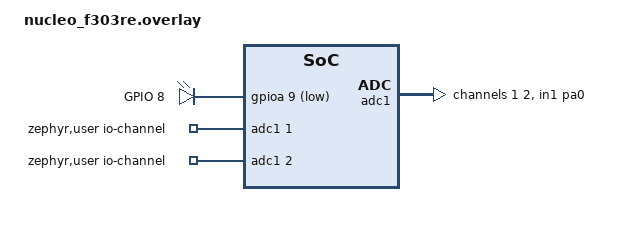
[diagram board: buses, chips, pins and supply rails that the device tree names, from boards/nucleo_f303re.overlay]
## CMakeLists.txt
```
cmake_minimum_required(VERSION 3.20.0)
find_package(Zephyr REQUIRED HINTS $ENV{ZEPHYR_BASE})

project(app LANGUAGES C)

# We need to be able to include generated header files
zephyr_library_include_directories(${CMAKE_CURRENT_BINARY_DIR})

target_sources(app PRIVATE src/main.c)
```

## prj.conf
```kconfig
# Configure Peripherals
CONFIG_GPIO=y
CONFIG_SENSOR=y
# CONFIG_DAC=y
CONFIG_ADC=y
CONFIG_PWM=y
CONFIG_PRINTK=y
# CONFIG_STDOUT_CONSOLE=y

# Configure Miltithreading
CONFIG_TIMESLICING=y
CONFIG_TIMESLICE_SIZE=10
CONFIG_TIMESLICE_PRIORITY=0
```

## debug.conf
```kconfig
# Copyright (c) 2021 Nordic Semiconductor ASA
# SPDX-License-Identifier: Apache-2.0
#
# This is a Kconfig fragment which can be used to enable debug-related options
# in the application. See the README for more details.

# compiler
CONFIG_DEBUG_OPTIMIZATIONS=y

# console
CONFIG_CONSOLE=y

# UART console
CONFIG_SERIAL=y
CONFIG_UART_CONSOLE=y

# logging
CONFIG_LOG=y
CONFIG_APP_LOG_LEVEL_DBG=y
```

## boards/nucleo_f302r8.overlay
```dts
/*
 * Copyright (c) 2021 Nordic Semiconductor ASA
 * SPDX-License-Identifier: Apache-2.0
 */

/* This devicetree overlay file will be automatically picked by the Zephyr
 * build system when building the sample for the nucleo_f302r8 board. It shows
 * how the example-application can be built on sample boards already provided
 * by Zephyr.
 */

/ {
	examplesensor0: examplesensor_0 {
		compatible = "zephyr,examplesensor";
		input-gpios = <&gpioc 13 (GPIO_PULL_UP | GPIO_ACTIVE_LOW)>;
	};
};

&gpioc {
	status = "okay";
};
```

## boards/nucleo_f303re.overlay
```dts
/ {
	// Define GPIO's
	leds {
		compatible = "gpio-leds";
		gpio_8: gpio8 {
			gpios = <&gpioa 9 GPIO_ACTIVE_LOW>;
			label = "GPIO 8";
		};
	};

	zephyr,user {
		io-channels = <&adc1 1>, <&adc1 2>;

	};

	aliases {
		d8 = &gpio_8;
	};
};

&adc1 {
	#address-cells = <1>;
	#size-cells = <0>;
	pinctrl-0 = <&adc1_in1_pa0>;
	pinctrl-names = "default";
	status = "okay";

	channel@1 {
		reg = <1>;
		zephyr,gain = "ADC_GAIN_6";
		zephyr,reference = "ADC_REF_VDD_1";
		zephyr,acquisition-time = <ADC_ACQ_TIME_DEFAULT>;
		zephyr,resolution = <12>;
		pinctrl-0 = <&adc1_in1_pa0>;
	};
	channel@2 {
		reg = <2>;
		zephyr,gain = "ADC_GAIN_6";
		zephyr,reference = "ADC_REF_VDD_1";
		zephyr,acquisition-time = <ADC_ACQ_TIME_DEFAULT>;
		zephyr,resolution = <12>;
		pinctrl-0 = <&adc1_in2_pa1>;
	};
};
```

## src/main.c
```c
#include <inttypes.h>
#include <stddef.h>
#include <stdint.h>

#include <zephyr/kernel.h>
#include <zephyr/device.h>
#include <zephyr/devicetree.h>
#include <zephyr/drivers/gpio.h>
#include <zephyr/sys/util.h>
#include <zephyr/sys/printk.h>
#include <zephyr/drivers/adc.h>
// #include <zephyr/drivers/pwm.h>

// DEFINE THREAT STACK SIZE AND PRIORITY
#define STACKSIZE 1024
#define PLAY_PRIORITY 7

// INITIALIZE ANALOG CHANNELS
#define DT_SPEC_AND_COMMA(node_id, prop, idx) \
	ADC_DT_SPEC_GET_BY_IDX(node_id, idx),

static const struct adc_dt_spec adc_channels[2] = {
	DT_FOREACH_PROP_ELEM(DT_PATH(zephyr_user), io_channels, DT_SPEC_AND_COMMA)
};

uint16_t buf;
struct adc_sequence sequence = {
  .buffer = &buf,
  .buffer_size = sizeof(buf),
};

// INITIALIZE THE SOLENOIDS
static const struct gpio_dt_spec solenoid_1 = GPIO_DT_SPEC_GET_OR(DT_ALIAS(d8), gpios, {0});
int32_t lastTimeFired = 0;

// Function to fire the passed solenoid to play the corresponding string
void fireSolenoid(struct gpio_dt_spec solenoid)
{
  int32_t startTime = k_uptime_get();
  int32_t currTime = k_uptime_get();

  int cooldownTime = 200;
  int32_t fireSpeed = 50;

  if(currTime - lastTimeFired > cooldownTime)
  {
    gpio_pin_set_dt(&solenoid, 0);

    bool doneFiring = false;

    while(!doneFiring)
    {
      if(currTime - startTime > fireSpeed)
      {
        gpio_pin_set_dt(&solenoid, 1);
        lastTimeFired = k_uptime_get(); 
        doneFiring = true;
        break;
      }
      currTime = k_uptime_get();
      k_usleep(10);
    }
  }
}

// Main thread function for controlling playing
void playGuitar()
{
  int photoResistorTolereance = 3200;
  int flexSensorTolerence = 1000;

  gpio_pin_set_dt(&solenoid_1, 1);

  int32_t photoResistor1Value;
  int32_t flexSensor1Value;

  int err;

  while(true)
  {
    // Read the photoresistor
    (void)adc_sequence_init_dt(&adc_channels[0], &sequence);

    // Check to make sure the photo resistor read an expected value
    err = adc_read(adc_channels[0].dev, &sequence);
    if (err < 0) 
    {
      printk("Could not read (%d)\n", err);
      continue;
    }

    photoResistor1Value = (int32_t)buf;

    // Test if laser has been broken
    if(photoResistor1Value < photoResistorTolereance)
    {
      fireSolenoid(solenoid_1);
    }

    // Read the flex sensor
    (void)adc_sequence_init_dt(&adc_channels[1], &sequence);

    // Check to make sure the flex sensor read an expected value
    err = adc_read(adc_channels[1].dev, &sequence);
    if (err < 0) 
    {
      printk("Could not read (%d)\n", err);
      continue;
    }

    flexSensor1Value = (int32_t)buf;

    // Test if flex sensor has been hit
    if(flexSensor1Value < flexSensorTolerence)
    {
      fireSolenoid(solenoid_1);
    }
  }
  return;
}

// Entry point. Configure peripherals
void main()
{
  int err;

  // Configure solenoids
  err = gpio_pin_configure_dt(&solenoid_1, GPIO_OUTPUT);
  if(err < 0)
  {
    printk("Could not configure solenoid 1.");
  }

  // Set up analog inputs (photo resistor, flex sensor)
	for (size_t i = 0U; i < ARRAY_SIZE(adc_channels); i++) {
		if (!device_is_ready(adc_channels[i].dev)) {
			printk("ADC controller device %s not ready\n", adc_channels[i].dev->name);
		}

		err = adc_channel_setup_dt(&adc_channels[i]);
		if (err < 0) 
    {
			printk("Could not setup channel #%d (%d)\n", i, err);
		}
	}
}

// BEGIN THREADS
K_THREAD_DEFINE(playGuitar_thread, STACKSIZE, playGuitar, NULL, NULL, NULL, PLAY_PRIORITY, 0, 0);
```
